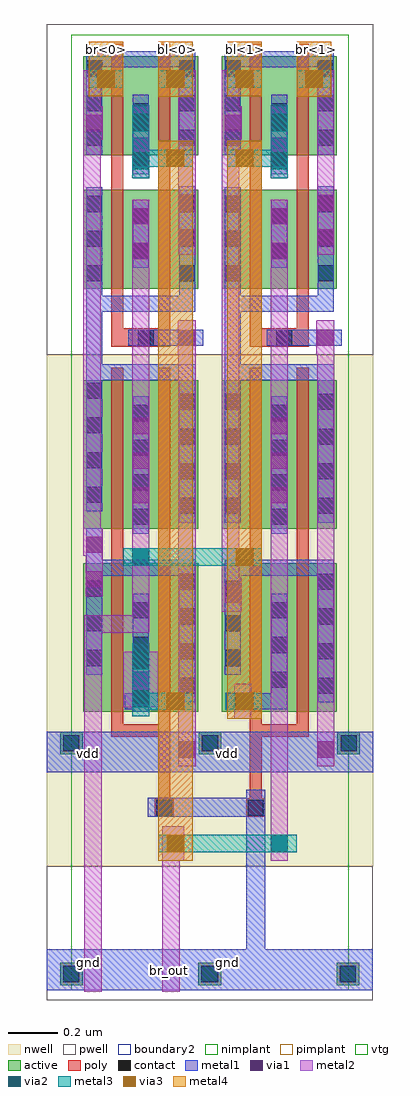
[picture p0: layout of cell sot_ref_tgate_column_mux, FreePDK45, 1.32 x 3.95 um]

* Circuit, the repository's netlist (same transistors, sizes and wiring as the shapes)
************************************************************************
* auCdl Netlist:
* 
* Library Name:  openram_sot
* Top Cell Name: sot_ref_tgate_column_mux
* View Name:     schematic
* Netlisted on:  Apr 16 15:35:02 2021
************************************************************************

*.EQUATION
*.SCALE METER
*.MEGA
.PARAM



************************************************************************
* Library Name: openram_sot
* Cell Name:    sot_ref_tgate_column_mux
* View Name:    schematic
************************************************************************

.SUBCKT sot_ref_tgate_column_mux bl<0> bl<1> br<0> br<1> bl_out br_out gnd vdd
MM10 br_out vdd br<1> gnd NMOS_VTG W=800n L=50n m=1
MM9 bl_out vdd bl<1> gnd NMOS_VTG W=800n L=50n m=1
MM5 br_out vdd br<0> gnd NMOS_VTG W=800n L=50n m=1
MM2 bl_out vdd bl<0> gnd NMOS_VTG W=800n L=50n m=1
MM3 bl_out gnd bl<0> vdd PMOS_VTG W=1.2u L=50n m=1
MM4 br_out gnd br<0> vdd PMOS_VTG W=1.2u L=50n m=1
MM8 bl_out gnd bl<1> vdd PMOS_VTG W=1.2u L=50n m=1
MM7 br_out gnd br<1> vdd PMOS_VTG W=1.2u L=50n m=1
.ENDS

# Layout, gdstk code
from math import pi, radians
import gdstk
lib = gdstk.Library(unit=1e-6, precision=5e-10)
def R(c, l, rs):  # rectangles x0, y0, x1, y1
    for r in rs: c.add(gdstk.rectangle(r[:2], r[2:], *l))
def A(c, l, x, y, w, h, nx, ny, dx, dy):  # array of equal rectangles
    R(c, l, [(x+i*dx, y+j*dy, x+i*dx+w, y+j*dy+h) for i in range(nx) for j in range(ny)])
active = (1, 0)
pwell = (2, 0)
nwell = (3, 0)
nimplant = (4, 0)
pimplant = (5, 0)
vtg = (6, 0)
poly = (9, 0)
contact = (10, 0)
metal1 = (11, 0)
via1 = (12, 0)
metal2 = (13, 0)
via2 = (14, 0)
metal3 = (15, 0)
via3 = (16, 0)
metal4 = (17, 0)
boundary2 = (239, 0)

m2_m1_cdns_619136567810 = lib.new_cell('M2_M1_CDNS_619136567810')
R(m2_m1_cdns_619136567810, metal1, [(-0.0325,-0.0675,0.0325,0.0675)])
R(m2_m1_cdns_619136567810, via1, [(-0.0325,-0.0325,0.0325,0.0325)])
R(m2_m1_cdns_619136567810, metal2, [(-0.0675,-0.035,0.0675,0.035)])

m2_m1_cdns_619136567811 = lib.new_cell('M2_M1_CDNS_619136567811')
R(m2_m1_cdns_619136567811, metal1, [(-0.0325,-0.0675,0.0325,0.0675)])
R(m2_m1_cdns_619136567811, via1, [(-0.0325,-0.0325,0.0325,0.0325)])
R(m2_m1_cdns_619136567811, metal2, [(-0.035,-0.0675,0.035,0.0675)])

m2_m1_cdns_619136567812 = lib.new_cell('M2_M1_CDNS_619136567812')
R(m2_m1_cdns_619136567812, metal1, [(-0.0325,-0.1375,0.0325,0.1375)])
R(m2_m1_cdns_619136567812, via1, [(-0.0325,-0.1025,0.0325,-0.0375), (-0.0325,0.0375,0.0325,0.1025)])
R(m2_m1_cdns_619136567812, metal2, [(-0.0675,-0.105,0.0675,0.105)])

m3_m2_cdns_619136567813 = lib.new_cell('M3_M2_CDNS_619136567813')
R(m3_m2_cdns_619136567813, metal2, [(-0.035,-0.1475,0.035,0.1475)])
R(m3_m2_cdns_619136567813, via2, [(-0.035,-0.1125,0.035,-0.0425), (-0.035,0.0425,0.035,0.1125)])
R(m3_m2_cdns_619136567813, metal3, [(-0.035,-0.1475,0.035,0.1475)])

m3_m2_cdns_619136567814 = lib.new_cell('M3_M2_CDNS_619136567814')
R(m3_m2_cdns_619136567814, metal2, [(-0.07,-0.1125,0.07,0.1125)])
R(m3_m2_cdns_619136567814, via2, [(-0.035,-0.1125,0.035,-0.0425), (-0.035,0.0425,0.035,0.1125)])
R(m3_m2_cdns_619136567814, metal3, [(-0.035,-0.1475,0.035,0.1475)])

m3_m2_cdns_619136567815 = lib.new_cell('M3_M2_CDNS_619136567815')
R(m3_m2_cdns_619136567815, metal2, [(-0.035,-0.07,0.035,0.07)])
R(m3_m2_cdns_619136567815, via2, [(-0.035,-0.035,0.035,0.035)])
R(m3_m2_cdns_619136567815, metal3, [(-0.035,-0.07,0.035,0.07)])

m4_m3_cdns_619136567816 = lib.new_cell('M4_M3_CDNS_619136567816')
R(m4_m3_cdns_619136567816, metal3, [(-0.035,-0.07,0.035,0.07)])
R(m4_m3_cdns_619136567816, via3, [(-0.035,-0.035,0.035,0.035)])
R(m4_m3_cdns_619136567816, metal4, [(-0.07,-0.07,0.07,0.07)])

m1_p_cdns_619136567817 = lib.new_cell('M1_P_CDNS_619136567817')
R(m1_p_cdns_619136567817, active, [(-0.045,-0.2475,0.045,0.2475)])
R(m1_p_cdns_619136567817, pimplant, [(-0.045,-0.2475,0.045,0.2475)])
A(m1_p_cdns_619136567817, contact, -0.0325, -0.2425, 0.065, 0.065, 1, 4, 0, 0.14)
R(m1_p_cdns_619136567817, metal1, [(-0.0325,-0.2775,0.0325,0.2775)])

m1_p_cdns_619136567818 = lib.new_cell('M1_P_CDNS_619136567818')
R(m1_p_cdns_619136567818, active, [(-0.045,-0.1775,0.045,0.1775)])
R(m1_p_cdns_619136567818, pimplant, [(-0.045,-0.1775,0.045,0.1775)])
A(m1_p_cdns_619136567818, contact, -0.0325, -0.1725, 0.065, 0.065, 1, 3, 0, 0.14)
R(m1_p_cdns_619136567818, metal1, [(-0.0325,-0.2075,0.0325,0.2075)])

m1_n_cdns_619136567819 = lib.new_cell('M1_N_CDNS_619136567819')
R(m1_n_cdns_619136567819, active, [(-0.045,-0.1775,0.045,0.1775)])
R(m1_n_cdns_619136567819, nimplant, [(-0.045,-0.1775,0.045,0.1775)])
A(m1_n_cdns_619136567819, contact, -0.0325, -0.1725, 0.065, 0.065, 1, 3, 0, 0.14)
R(m1_n_cdns_619136567819, metal1, [(-0.0325,-0.2075,0.0325,0.2075)])

m2_m1_cdns_6191365678110 = lib.new_cell('M2_M1_CDNS_6191365678110')
R(m2_m1_cdns_6191365678110, metal1, [(-0.0325,-0.1375,0.0325,0.1375)])
R(m2_m1_cdns_6191365678110, via1, [(-0.0325,-0.1025,0.0325,-0.0375), (-0.0325,0.0375,0.0325,0.1025)])
R(m2_m1_cdns_6191365678110, metal2, [(-0.035,-0.1375,0.035,0.1375)])

m1_n_cdns_6191365678111 = lib.new_cell('M1_N_CDNS_6191365678111')
R(m1_n_cdns_6191365678111, active, [(-0.045,-0.1075,0.045,0.1075)])
R(m1_n_cdns_6191365678111, nimplant, [(-0.045,-0.1075,0.045,0.1075)])
R(m1_n_cdns_6191365678111, contact, [(-0.0325,-0.1025,0.0325,-0.0375), (-0.0325,0.0375,0.0325,0.1025)])
R(m1_n_cdns_6191365678111, metal1, [(-0.0325,-0.1375,0.0325,0.1375)])

m2_m1_cdns_6191365678112 = lib.new_cell('M2_M1_CDNS_6191365678112')
R(m2_m1_cdns_6191365678112, metal1, [(-0.0325,-0.2075,0.0325,0.2075)])
A(m2_m1_cdns_6191365678112, via1, -0.0325, -0.1725, 0.065, 0.065, 1, 3, 0, 0.14)
R(m2_m1_cdns_6191365678112, metal2, [(-0.035,-0.2075,0.035,0.2075)])

m4_m3_cdns_6191365678113 = lib.new_cell('M4_M3_CDNS_6191365678113')
R(m4_m3_cdns_6191365678113, metal3, [(-0.07,-0.035,0.07,0.035)])
R(m4_m3_cdns_6191365678113, via3, [(-0.035,-0.035,0.035,0.035)])
R(m4_m3_cdns_6191365678113, metal4, [(-0.07,-0.07,0.07,0.07)])

m3_m2_cdns_6191365678114 = lib.new_cell('M3_M2_CDNS_6191365678114')
R(m3_m2_cdns_6191365678114, metal2, [(-0.035,-0.07,0.035,0.07)])
R(m3_m2_cdns_6191365678114, via2, [(-0.035,-0.035,0.035,0.035)])
R(m3_m2_cdns_6191365678114, metal3, [(-0.07,-0.035,0.07,0.035)])

sot_ref_tgate_column_mux = lib.new_cell('sot_ref_tgate_column_mux')
R(sot_ref_tgate_column_mux, active, [(-0.045,0.02,0.045,0.11), (0.5125,0.02,0.6025,0.11), (0.515,0.02,0.605,0.11), (1.0725,0.02,1.1625,0.11), (-0.045,0.9525,0.045,1.0425), (0.515,0.9525,0.605,1.0425), (0.515,0.9525,0.605,1.0425), (1.075,0.9525,1.165,1.0425), (0.0475,1.125,0.5125,1.725), (0.6075,1.125,1.0725,1.725), (0.0475,1.865,0.5125,2.465), (0.6075,1.865,1.0725,2.465), (0.0475,2.835,0.5125,3.235), (0.6075,2.835,1.0725,3.235), (0.0475,3.375,0.5125,3.775), (0.6075,3.375,1.0725,3.775)])
R(sot_ref_tgate_column_mux, pwell, [(-0.1,-0.04,0.6575,0.5), (0.46,-0.04,1.2175,0.5), (-0.1,2.5675,0.66,3.905), (0.46,2.5675,1.22,3.905)])
R(sot_ref_tgate_column_mux, nwell, [(-0.1,0.5,0.66,2.5675), (0.46,0.5,1.22,2.5675)])
R(sot_ref_tgate_column_mux, nimplant, [(-0.045,0.9525,0.045,1.0425), (0.515,0.9525,0.605,1.0425), (0.515,0.9525,0.605,1.0425), (1.075,0.9525,1.165,1.0425), (0.0475,2.835,0.5125,3.235), (0.6075,2.835,1.0725,3.235), (0.0475,3.375,0.5125,3.775), (0.6075,3.375,1.0725,3.775)])
R(sot_ref_tgate_column_mux, pimplant, [(-0.045,0.02,0.045,0.11), (0.5125,0.02,0.6025,0.11), (0.515,0.02,0.605,0.11), (1.0725,0.02,1.1625,0.11), (0.0475,1.125,0.5125,1.725), (0.6075,1.125,1.0725,1.725), (0.0475,1.865,0.5125,2.465), (0.6075,1.865,1.0725,2.465)])
R(sot_ref_tgate_column_mux, vtg, [(0,0,0.56,3.8625), (0.56,0,1.12,3.8625)])
R(sot_ref_tgate_column_mux, poly, [(0.3375,0.7,0.4125,0.775), (0.35,0.7,0.4,1.055), (0.7075,0.7,0.7825,0.775), (0.72,0.7,0.77,1.055), (0.35,0.9975,0.4,2.515), (0.16,1.025,0.4,1.075), (0.16,1.025,0.21,2.515), (0.72,1.025,0.96,1.075), (0.72,1.025,0.77,2.515), (0.91,1.025,0.96,2.515), (0.16,2.6,0.21,3.825), (0.16,2.6,0.4,2.675), (0.35,2.6,0.4,3.825), (0.72,2.6,0.77,3.825), (0.72,2.6,0.96,2.675), (0.91,2.6,0.96,3.825)])
R(sot_ref_tgate_column_mux, contact, [(-0.0325,0.0325,0.0325,0.0975), (0.525,0.0325,0.59,0.0975), (0.5275,0.0325,0.5925,0.0975), (1.085,0.0325,1.15,0.0975), (0.3425,0.705,0.4075,0.77), (0.7125,0.705,0.7775,0.77), (-0.0325,0.965,0.0325,1.03), (0.5275,0.965,0.5925,1.03), (0.5275,0.965,0.5925,1.03), (1.0875,0.965,1.1525,1.03), (0.2675,2.605,0.3325,2.67), (0.8275,2.605,0.8925,2.67)])
R(sot_ref_tgate_column_mux, metal1, [(-0.1,0,0.6575,0.165), (0.46,0,1.2175,0.165), (0.7075,0.13,0.7825,0.81), (0.3075,0.7,0.7825,0.7775), (-0.1,0.88,0.66,1.045), (0.46,0.88,1.22,1.045), (0.215,1.135,0.3125,1.2), (0.63,1.135,0.8725,1.2), (0.06,1.675,0.5,1.74), (0.62,1.675,1.06,1.74), (0.06,2.3625,0.125,2.865), (0.62,2.3625,0.685,2.865), (0.435,2.435,0.5,2.53), (0.995,2.435,1.06,2.53), (0.06,2.465,0.5025,2.53), (0.62,2.465,1.0625,2.53), (0.23,2.605,0.5025,2.67), (0.79,2.605,1.0625,2.67), (0.06,2.7425,0.5,2.8075), (0.435,2.7425,0.5,2.905), (0.62,2.7425,1.06,2.8075), (0.995,2.7425,1.06,2.905), (0.06,3.73,0.5,3.795), (0.62,3.73,1.06,3.795)])
R(sot_ref_tgate_column_mux, metal2, [(0.0525,-0.0075,0.1225,1.475), (0.3675,-0.0075,0.4375,0.6625), (0.805,0.6075,0.875,3.195), (0.4325,0.905,0.5025,1.18), (0.9925,0.905,1.0625,1.18), (0.4325,1.1725,0.5025,2.7075), (0.9925,1.1725,1.0625,2.7075), (0.0525,1.445,0.315,1.515), (0.245,1.4725,0.315,3.195), (0.6075,1.53,0.6775,3.7175), (0.0475,1.755,0.1175,3.7175), (0.4325,2.9725,0.5025,3.7175), (0.9925,2.9725,1.0625,3.7175)])
R(sot_ref_tgate_column_mux, metal3, [(0.445,0.5575,0.875,0.6275), (0.245,1.1325,0.455,1.2025), (0.2975,1.715,0.77,1.785), (0.245,3.3275,0.315,3.49), (0.245,3.3275,0.49,3.3975), (0.63,3.3275,0.875,3.3975), (0.805,3.3275,0.875,3.49)])
R(sot_ref_tgate_column_mux, metal4, [(0.35,0.5225,0.49,3.4325), (0.63,1.0975,0.77,3.4325), (0.35,3.61,0.49,3.8325), (0.91,3.61,1.05,3.8325), (0.07,3.6125,0.21,3.8325), (0.63,3.6125,0.77,3.8325)])
R(sot_ref_tgate_column_mux, boundary2, [(0,0,0.56,3.8625), (0.56,0,1.12,3.8625)])
sot_ref_tgate_column_mux.add(gdstk.FlexPath([(0.42,0.5925),(0.445,0.5925)], 0.07, ends="flush", simple_path=True, layer=15, datatype=0))  # metal3
sot_ref_tgate_column_mux.add(gdstk.Reference(m2_m1_cdns_619136567810, (0.465,2.6375), rotation=pi/2))
sot_ref_tgate_column_mux.add(gdstk.Reference(m2_m1_cdns_619136567810, (1.025,2.6375), rotation=pi/2))
sot_ref_tgate_column_mux.add(gdstk.Reference(m2_m1_cdns_619136567810, (0.6925,1.1675), rotation=pi/2))
sot_ref_tgate_column_mux.add(gdstk.Reference(m2_m1_cdns_619136567811, (0.4675,0.9725)))
sot_ref_tgate_column_mux.add(gdstk.Reference(m2_m1_cdns_619136567811, (0.0925,3.505)))
sot_ref_tgate_column_mux.add(gdstk.Reference(m2_m1_cdns_619136567811, (0.6525,3.505)))
sot_ref_tgate_column_mux.add(gdstk.Reference(m2_m1_cdns_619136567811, (0.6525,1.5975)))
sot_ref_tgate_column_mux.add(gdstk.Reference(m2_m1_cdns_619136567811, (1.0275,0.9725)))
sot_ref_tgate_column_mux.add(gdstk.Reference(m2_m1_cdns_619136567812, (0.28,1.2625)))
sot_ref_tgate_column_mux.add(gdstk.Reference(m3_m2_cdns_619136567813, (0.28,3.43)))
sot_ref_tgate_column_mux.add(gdstk.Reference(m3_m2_cdns_619136567813, (0.84,3.43)))
sot_ref_tgate_column_mux.add(gdstk.Reference(m3_m2_cdns_619136567814, (0.28,1.255), rotation=pi))
sot_ref_tgate_column_mux.add(gdstk.Reference(m3_m2_cdns_619136567815, (0.42,3.6825), rotation=pi/2))
sot_ref_tgate_column_mux.add(gdstk.Reference(m3_m2_cdns_619136567815, (0.7,3.6825), rotation=pi/2))
sot_ref_tgate_column_mux.add(gdstk.Reference(m3_m2_cdns_619136567815, (0.14,3.6825), rotation=pi/2))
sot_ref_tgate_column_mux.add(gdstk.Reference(m3_m2_cdns_619136567815, (0.98,3.6825), rotation=pi/2))
sot_ref_tgate_column_mux.add(gdstk.Reference(m4_m3_cdns_619136567816, (0.42,0.5925), rotation=pi/2))
sot_ref_tgate_column_mux.add(gdstk.Reference(m4_m3_cdns_619136567816, (0.7,1.75), rotation=pi/2))
sot_ref_tgate_column_mux.add(gdstk.Reference(m1_p_cdns_619136567817, (0.4675,1.44)))
sot_ref_tgate_column_mux.add(gdstk.Reference(m1_p_cdns_619136567817, (0.4675,2.1675)))
sot_ref_tgate_column_mux.add(gdstk.Reference(m1_p_cdns_619136567817, (0.28,2.1225)))
sot_ref_tgate_column_mux.add(gdstk.Reference(m1_p_cdns_619136567817, (0.0925,2.2125)))
sot_ref_tgate_column_mux.add(gdstk.Reference(m1_p_cdns_619136567817, (0.6525,2.1675)))
sot_ref_tgate_column_mux.add(gdstk.Reference(m1_p_cdns_619136567817, (1.0275,1.44)))
sot_ref_tgate_column_mux.add(gdstk.Reference(m1_p_cdns_619136567817, (0.84,2.1225)))
sot_ref_tgate_column_mux.add(gdstk.Reference(m1_p_cdns_619136567817, (1.0275,2.1675)))
sot_ref_tgate_column_mux.add(gdstk.Reference(m1_p_cdns_619136567818, (0.28,1.395)))
sot_ref_tgate_column_mux.add(gdstk.Reference(m1_p_cdns_619136567818, (0.0925,1.4825)))
sot_ref_tgate_column_mux.add(gdstk.Reference(m1_p_cdns_619136567818, (0.6525,1.4825)))
sot_ref_tgate_column_mux.add(gdstk.Reference(m1_p_cdns_619136567818, (0.84,1.395)))
sot_ref_tgate_column_mux.add(gdstk.Reference(m1_n_cdns_619136567819, (0.4675,3.0375)))
sot_ref_tgate_column_mux.add(gdstk.Reference(m1_n_cdns_619136567819, (0.4675,3.585)))
sot_ref_tgate_column_mux.add(gdstk.Reference(m1_n_cdns_619136567819, (0.0925,3.0375)))
sot_ref_tgate_column_mux.add(gdstk.Reference(m1_n_cdns_619136567819, (0.0925,3.585)))
sot_ref_tgate_column_mux.add(gdstk.Reference(m1_n_cdns_619136567819, (0.6525,3.0375)))
sot_ref_tgate_column_mux.add(gdstk.Reference(m1_n_cdns_619136567819, (1.0275,3.585)))
sot_ref_tgate_column_mux.add(gdstk.Reference(m1_n_cdns_619136567819, (1.0275,3.0375)))
sot_ref_tgate_column_mux.add(gdstk.Reference(m1_n_cdns_619136567819, (0.6525,3.585)))
sot_ref_tgate_column_mux.add(gdstk.Reference(m2_m1_cdns_6191365678110, (0.4675,3.1125)))
sot_ref_tgate_column_mux.add(gdstk.Reference(m2_m1_cdns_6191365678110, (0.28,3.435)))
sot_ref_tgate_column_mux.add(gdstk.Reference(m2_m1_cdns_6191365678110, (0.0925,1.73)))
sot_ref_tgate_column_mux.add(gdstk.Reference(m2_m1_cdns_6191365678110, (0.28,3.0575)))
sot_ref_tgate_column_mux.add(gdstk.Reference(m2_m1_cdns_6191365678110, (1.0275,3.1125)))
sot_ref_tgate_column_mux.add(gdstk.Reference(m2_m1_cdns_6191365678110, (0.84,3.0575)))
sot_ref_tgate_column_mux.add(gdstk.Reference(m2_m1_cdns_6191365678110, (0.84,3.435)))
sot_ref_tgate_column_mux.add(gdstk.Reference(m1_n_cdns_6191365678111, (0.28,3.0575)))
sot_ref_tgate_column_mux.add(gdstk.Reference(m1_n_cdns_6191365678111, (0.28,3.4825)))
sot_ref_tgate_column_mux.add(gdstk.Reference(m1_n_cdns_6191365678111, (0.84,3.0575)))
sot_ref_tgate_column_mux.add(gdstk.Reference(m1_n_cdns_6191365678111, (0.84,3.4825)))
sot_ref_tgate_column_mux.add(gdstk.Reference(m2_m1_cdns_6191365678112, (0.28,2.14)))
sot_ref_tgate_column_mux.add(gdstk.Reference(m2_m1_cdns_6191365678112, (0.84,2.14)))
sot_ref_tgate_column_mux.add(gdstk.Reference(m4_m3_cdns_6191365678113, (0.42,3.6825)))
sot_ref_tgate_column_mux.add(gdstk.Reference(m4_m3_cdns_6191365678113, (0.42,3.3625), rotation=pi))
sot_ref_tgate_column_mux.add(gdstk.Reference(m4_m3_cdns_6191365678113, (0.7,3.3625), rotation=pi))
sot_ref_tgate_column_mux.add(gdstk.Reference(m4_m3_cdns_6191365678113, (0.7,1.1675)))
sot_ref_tgate_column_mux.add(gdstk.Reference(m4_m3_cdns_6191365678113, (0.42,1.1675)))
sot_ref_tgate_column_mux.add(gdstk.Reference(m4_m3_cdns_6191365678113, (0.98,3.6825)))
sot_ref_tgate_column_mux.add(gdstk.Reference(m4_m3_cdns_6191365678113, (0.14,3.6825)))
sot_ref_tgate_column_mux.add(gdstk.Reference(m4_m3_cdns_6191365678113, (0.7,3.6825)))
sot_ref_tgate_column_mux.add(gdstk.Reference(m3_m2_cdns_6191365678114, (0.42,0.5925)))
sot_ref_tgate_column_mux.add(gdstk.Reference(m3_m2_cdns_6191365678114, (0.28,1.75)))
sot_ref_tgate_column_mux.add(gdstk.Reference(m3_m2_cdns_6191365678114, (0.6925,1.1675)))
sot_ref_tgate_column_mux.add(gdstk.Reference(m3_m2_cdns_6191365678114, (0.84,0.5925)))
sot_ref_tgate_column_mux.add(gdstk.Label('gnd', (0.63,0.11), layer=11, texttype=0))
sot_ref_tgate_column_mux.add(gdstk.Label('vdd', (0.63,0.955), layer=11, texttype=0))
sot_ref_tgate_column_mux.add(gdstk.Label('gnd', (0.07,0.11), layer=11, texttype=0))
sot_ref_tgate_column_mux.add(gdstk.Label('vdd', (0.07,0.955), layer=11, texttype=0))
sot_ref_tgate_column_mux.add(gdstk.Label('bl_out', (0.1225,0.0725), layer=13, texttype=0))
sot_ref_tgate_column_mux.add(gdstk.Label('br_out', (0.3975,0.08), layer=13, texttype=0))
sot_ref_tgate_column_mux.add(gdstk.Label('br<0>', (0.1425,3.8), layer=17, texttype=0))
sot_ref_tgate_column_mux.add(gdstk.Label('br<1>', (0.99,3.8), layer=17, texttype=0))
sot_ref_tgate_column_mux.add(gdstk.Label('bl<1>', (0.7025,3.8), layer=17, texttype=0))
sot_ref_tgate_column_mux.add(gdstk.Label('bl<0>', (0.43,3.8), layer=17, texttype=0))

lib.write_gds('sot_ref_tgate_column_mux.gds')
